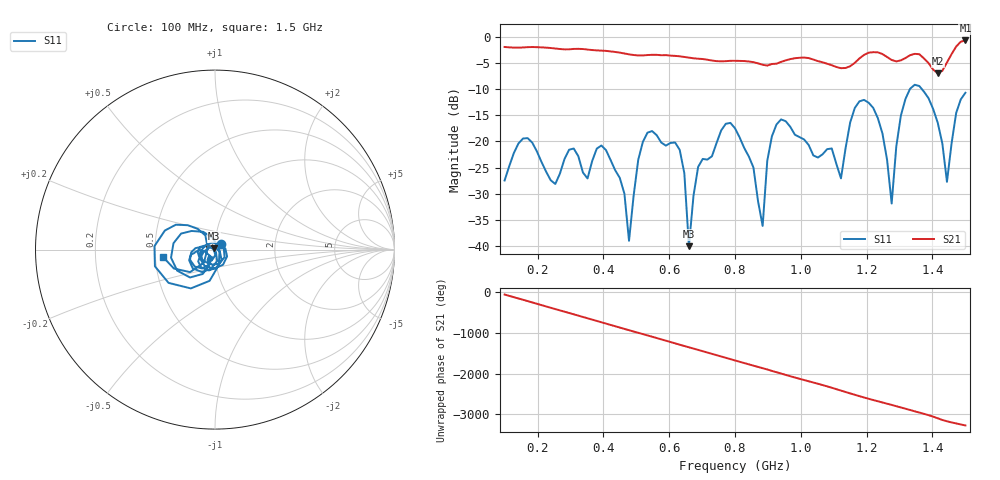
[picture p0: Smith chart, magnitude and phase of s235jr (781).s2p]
! NanoVNA-App
! Date: 2025-09-25 15:10:15
! Start: 100MHz Stop: 1,5GHz Points: 101
! S-Parameter data: F S11 S21 S12 S22
# Hz S RI R 50
!  Frequency  S11_Real  S11_Imag  S21_Real  S21_Imag  S12_Real  S12_Imag  S22_Real  S22_Imag
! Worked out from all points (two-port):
!   101 points, 100 MHz to 1.5 GHz, reference 50 ohm
!   highest |S21| = -0.72 dB at 1.5 GHz (marker M1); lowest = -7.0 dB at 1.416 GHz (marker M2)
!   |S21| within 3 dB of the highest: start of sweep to 627.8 MHz; 1.187 GHz to 1.258 GHz (70.85 MHz wide, 5.8 % of centre) (the widest 2 of 4)
!   lowest |S11| = -40.0 dB at 660 MHz (marker M3), VSWR 1.02, Z = 49.2 + j0.621 ohm
!   |S11| at or under -10 dB: start of sweep to 1.332 GHz; 1.368 GHz to end of sweep
!   S12 and S22 are empty: the file has one direction only
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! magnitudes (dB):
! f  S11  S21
! 100 MHz  -27.5  -2.0
! 156 MHz  -19.5  -2.1
! 338 MHz  -26.0  -2.4
! 408 MHz  -21.7  -2.7
! 478 MHz  -39.0  -3.4
! 520 MHz  -20.1  -3.6
! 576 MHz  -20.2  -3.5
! 632 MHz  -21.6  -3.7
! 660 MHz  -40.0  -4.0
! 688 MHz  -24.9  -4.2
! 800 MHz  -17.5  -4.6
! 884 MHz  -36.2  -5.4
! 926 MHz  -16.8  -5.2
! 1.038 GHz  -22.7  -4.4
! 1.122 GHz  -27.1  -6.0
! 1.192 GHz  -12.1  -3.5
! 1.248 GHz  -18.5  -3.3
! 1.276 GHz  -31.9  -4.4
! 1.332 GHz  -9.9  -3.5
! 1.416 GHz  -16.5  -7.0
! 1.444 GHz  -27.7  -4.9
! 1.5 GHz  -10.7  -0.7
